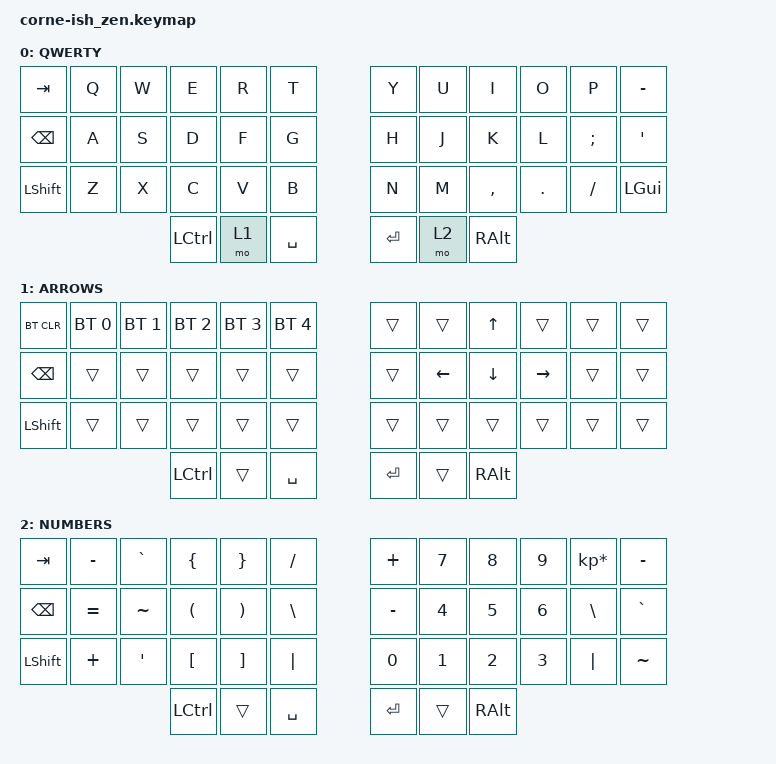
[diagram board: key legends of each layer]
/*
*
* Copyright (c) 2021 Darryl deHaan
* SPDX-License-Identifier: MIT
*
*/

#include <behaviors.dtsi>
#include <dt-bindings/zmk/keys.h>
#include <dt-bindings/zmk/bt.h>

/ {
        keymap {
                compatible = "zmk,keymap";

                default_layer {
                        label = "QWERTY";
// -----------------------------------------------------------------------------------------
// |  TAB |  Q  |  W  |  E  |  R  |  T  |   |  Y  |  U   |  I  |  O  |  P  | -    |
// | BKSP |  A  |  S  |  D  |  F  |  G  |   |  H  |  J   |  K  |  L  |  ;  |  '   |
// | SHFT |  Z  |  X  |  C  |  V  |  B  |   |  N  |  M   |  ,  |  .  |  /  | GUI  |
//                    | CTRL| LWR | SPC |   | ENT | RSE  | ALT |
                        bindings = <
   &kp TAB   &kp Q &kp W &kp E &kp R &kp T   &kp Y &kp U  &kp I     &kp O   &kp P    &kp MINUS
   &kp BSPC &kp A &kp S &kp D &kp F &kp G   &kp H &kp J  &kp K     &kp L   &kp SEMI &kp SQT
   &kp LSHFT &kp Z &kp X &kp C &kp V &kp B   &kp N &kp M  &kp COMMA &kp DOT &kp FSLH &kp LGUI
                  &kp LCTRL &mo 1 &kp SPACE   &kp RET &mo 2 &kp RALT
                        >;
                };
                lower_layer {
                        label = "ARROWS";
// -----------------------------------------------------------------------------------------
// | BTCLR| BT1 | BT2 | BT3 | BT4 | BT5 |   |     |     |  UP |     |     |      |
// | BKSP |     |     |     |     |     |   |     | LFT | DWN | RGT |     |      |
// | SHFT |     |     |     |     |     |   |     |     |     |     |     |      |
//                    | CTRL|     | SPC |   | ENT |     | ALT |
                        bindings = <
   &bt BT_CLR &bt BT_SEL 0 &bt BT_SEL 1 &bt BT_SEL 2 &bt BT_SEL 3 &bt BT_SEL 4   &trans   &trans     &kp UP     &trans     &trans   &trans
   &kp BSPC   &trans       &trans       &trans       &trans       &trans         &trans   &kp LEFT   &kp DOWN   &kp RIGHT  &trans   &trans
   &kp LSHFT  &trans       &trans       &trans       &trans       &trans         &trans   &trans     &trans     &trans     &trans   &trans
                          	        &kp LCTRL     &trans       &kp SPACE      &kp RET  &trans    &kp RALT
                        >;
                };

                raise_layer {
                        label = "NUMBERS";
// -----------------------------------------------------------------------------------------
// |  TAB | -  |  `  |  {  | }  | /  |   |  +  |  7  |  8  |  9  |  *  |  -   |
// | BKSP | =  |  ~  |  (  | )  | \  |   |  -  |  4  |  5  |  6  |  \  |  `   |
// | SHFT | +  |  '  |  [  | ]  | |  |   |  0  |  1  |  2  |  3  | "|" |  ~   |
//                    | CTRL|     | SPC |   | ENT |     | ALT |
                        bindings = <
   &kp TAB    &kp MINUS  &kp GRAVE  &kp LBRC  &kp RBRC  &kp FSLH  &kp PLUS  &kp N7  &kp N8  &kp N9  &kp KP_MULTIPLY &kp MINUS
   &kp BSPC   &kp EQUAL  &kp TILDE  &kp LPAR  &kp RPAR  &kp BSLH  &kp MINUS &kp N4  &kp N5  &kp N6  &kp BSLH        &kp GRAVE
   &kp LSHFT  &kp PLUS   &kp SQT    &kp LBKT  &kp RBKT  &kp PIPE  &kp N0    &kp N1  &kp N2  &kp N3  &kp PIPE        &kp TILDE
                    	     &kp LCTRL &trans   &kp SPACE   &kp RET   &trans    &kp RALT
                        >;
                };
        };
};
